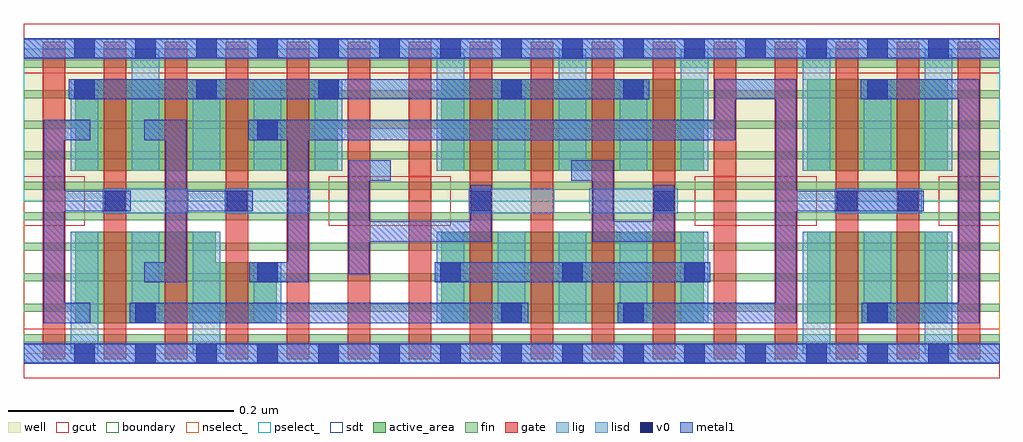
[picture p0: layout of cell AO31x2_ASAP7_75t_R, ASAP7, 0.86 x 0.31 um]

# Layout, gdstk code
import gdstk
lib = gdstk.Library(unit=1e-6, precision=1e-09)
def R(c, l, rs):  # rectangles x0, y0, x1, y1
    for r in rs: c.add(gdstk.rectangle(r[:2], r[2:], *l))
def A(c, l, x, y, w, h, nx, ny, dx, dy):  # array of equal rectangles
    R(c, l, [(x+i*dx, y+j*dy, x+i*dx+w, y+j*dy+h) for i in range(nx) for j in range(ny)])
def P(c, l, *ps):  # polygons
    for p in ps: c.add(gdstk.Polygon(p, *l))
well = (1, 0)
fin = (2, 0)
gate = (7, 0)
gcut = (10, 0)
active_area = (11, 0)
nselect_ = (12, 0)
pselect_ = (13, 0)
lig = (16, 0)
lisd = (17, 0)
v0 = (18, 0)
metal1 = (19, 0)
sdt = (88, 0)
boundary = (100, 0)

ao31x2_asap7_75t_r = lib.new_cell('AO31x2_ASAP7_75t_R')
R(ao31x2_asap7_75t_r, well, [(0,0.135,0.864,0.27)])
A(ao31x2_asap7_75t_r, fin, 0, 0.01, 0.864, 0.007, 1, 10, 0, 0.027)
A(ao31x2_asap7_75t_r, gate, 0.017, -0.005, 0.02, 0.281, 16, 1, 0.054, 0)
R(ao31x2_asap7_75t_r, gcut, [(0,-0.022,0.864,0.022), (0,0.113,0.054,0.157), (0.27,0.113,0.378,0.157), (0.594,0.113,0.702,0.157), (0.81,0.113,0.864,0.157), (0,0.248,0.864,0.292)])
R(ao31x2_asap7_75t_r, active_area, [(0.37,0.027,0.602,0.108), (0.694,0.027,0.818,0.108), (0.046,0.162,0.278,0.243), (0.37,0.162,0.602,0.243), (0.694,0.162,0.818,0.243)])
P(ao31x2_asap7_75t_r, active_area, [(0.046,0.027),(0.046,0.108),(0.17,0.108),(0.17,0.081),(0.224,0.081),(0.224,0.027)])
R(ao31x2_asap7_75t_r, nselect_, [(0,0,0.864,0.135)])
R(ao31x2_asap7_75t_r, pselect_, [(0,0.135,0.864,0.27)])
R(ao31x2_asap7_75t_r, lig, [(0,-0.008,0.864,0.008), (0.07,0.124,0.146,0.146), (0.178,0.124,0.254,0.146), (0.394,0.124,0.47,0.146), (0.501,0.124,0.579,0.146), (0.718,0.124,0.795,0.146), (0,0.262,0.864,0.278)])
A(ao31x2_asap7_75t_r, lisd, 0.366, 0.027, 0.024, 0.081, 5, 1, 0.054, 0)
A(ao31x2_asap7_75t_r, lisd, 0.15, 0.162, 0.024, 0.081, 3, 1, 0.054, 0)
A(ao31x2_asap7_75t_r, lisd, 0.366, 0.162, 0.024, 0.108, 5, 1, 0.108, 0)
R(ao31x2_asap7_75t_r, lisd, [(0.042,0,0.066,0.108), (0.15,0,0.174,0.108), (0.69,0,0.714,0.108), (0.798,0,0.822,0.108), (0.096,0.027,0.12,0.108), (0.204,0.027,0.228,0.081), (0.744,0.027,0.768,0.108), (0.042,0.162,0.066,0.243), (0.096,0.162,0.12,0.27), (0.42,0.162,0.444,0.243), (0.528,0.162,0.552,0.243), (0.744,0.162,0.768,0.243)])
A(ao31x2_asap7_75t_r, v0, 0.045, -0.009, 0.018, 0.018, 15, 2, 0.054, 0.27)
A(ao31x2_asap7_75t_r, v0, 0.369, 0.063, 0.018, 0.018, 3, 1, 0.108, 0)
A(ao31x2_asap7_75t_r, v0, 0.396, 0.126, 0.018, 0.018, 3, 1, 0.162, 0)
A(ao31x2_asap7_75t_r, v0, 0.045, 0.225, 0.018, 0.018, 3, 1, 0.108, 0)
R(ao31x2_asap7_75t_r, v0, [(0.099,0.027,0.117,0.045), (0.423,0.027,0.441,0.045), (0.531,0.027,0.549,0.045), (0.747,0.027,0.765,0.045), (0.207,0.063,0.225,0.081), (0.072,0.126,0.09,0.144), (0.18,0.126,0.198,0.144), (0.774,0.126,0.792,0.144), (0.207,0.189,0.225,0.207), (0.423,0.225,0.441,0.243), (0.531,0.225,0.549,0.243), (0.747,0.225,0.765,0.243)])
R(ao31x2_asap7_75t_r, metal1, [(0,-0.009,0.864,0.009), (0.094,0.027,0.447,0.045), (0.364,0.063,0.608,0.081), (0.04,0.225,0.554,0.243), (0,0.261,0.864,0.279)])
P(ao31x2_asap7_75t_r, metal1, [(0.018,0.027),(0.018,0.207),(0.059,0.207),(0.059,0.189),(0.036,0.189),(0.036,0.144),(0.095,0.144),(0.095,0.126),(0.036,0.126),(0.036,0.045),(0.059,0.045),(0.059,0.027)],
  [(0.107,0.063),(0.107,0.081),(0.126,0.081),(0.126,0.189),(0.107,0.189),(0.107,0.207),(0.144,0.207),(0.144,0.144),(0.203,0.144),(0.203,0.126),(0.144,0.126),(0.144,0.063)],
  [(0.288,0.07),(0.288,0.171),(0.325,0.171),(0.325,0.153),(0.306,0.153),(0.306,0.117),(0.396,0.117),(0.396,0.149),(0.414,0.149),(0.414,0.099),(0.306,0.099),(0.306,0.07)],
  [(0.504,0.099),(0.504,0.153),(0.485,0.153),(0.485,0.171),(0.522,0.171),(0.522,0.117),(0.558,0.117),(0.558,0.149),(0.576,0.149),(0.576,0.099)],
  [(0.526,0.027),(0.526,0.045),(0.666,0.045),(0.666,0.225),(0.63,0.225),(0.63,0.189),(0.252,0.189),(0.252,0.063),(0.2,0.063),(0.2,0.081),(0.234,0.081),(0.234,0.189),(0.199,0.189),(0.199,0.207),(0.612,0.207),(0.612,0.243),(0.684,0.243),(0.684,0.144),(0.797,0.144),(0.797,0.126),(0.684,0.126),(0.684,0.027)],
  [(0.742,0.027),(0.742,0.045),(0.828,0.045),(0.828,0.225),(0.741,0.225),(0.741,0.243),(0.846,0.243),(0.846,0.027)])
A(ao31x2_asap7_75t_r, sdt, 0.042, 0.027, 0.024, 0.081, 3, 1, 0.054, 0)
A(ao31x2_asap7_75t_r, sdt, 0.366, 0.027, 0.024, 0.081, 5, 2, 0.054, 0.135)
A(ao31x2_asap7_75t_r, sdt, 0.69, 0.027, 0.024, 0.081, 3, 2, 0.054, 0.135)
A(ao31x2_asap7_75t_r, sdt, 0.042, 0.162, 0.024, 0.081, 5, 1, 0.054, 0)
R(ao31x2_asap7_75t_r, sdt, [(0.204,0.027,0.228,0.081)])
R(ao31x2_asap7_75t_r, boundary, [(0,0,0.864,0.27)])

lib.write_gds('AO31x2_ASAP7_75t_R.gds')
